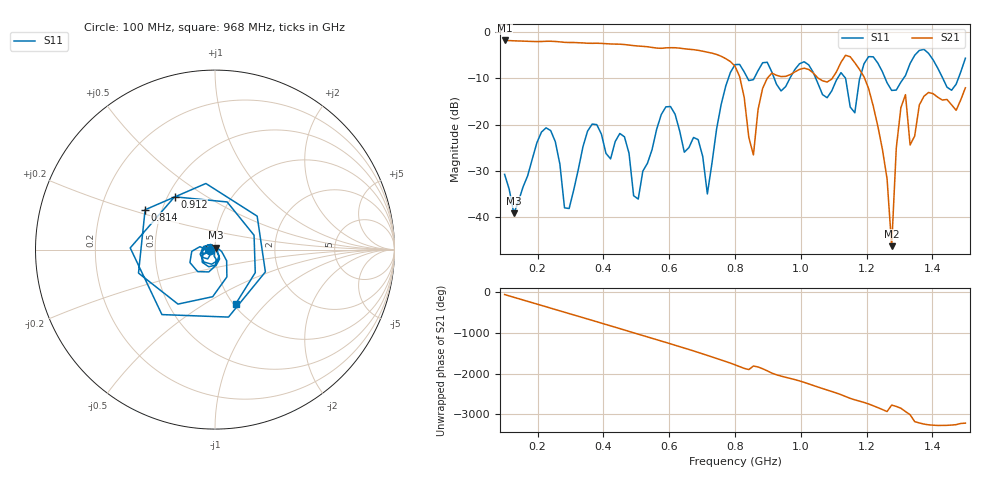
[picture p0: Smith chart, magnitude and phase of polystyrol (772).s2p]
! NanoVNA-App
! Date: 2025-09-25 15:35:53
! Start: 100MHz Stop: 1,5GHz Points: 101
! S-Parameter data: F S11 S21 S12 S22
# Hz S RI R 50
!  Frequency  S11_Real  S11_Imag  S21_Real  S21_Imag  S12_Real  S12_Imag  S22_Real  S22_Imag
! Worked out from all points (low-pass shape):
!   101 points, 100 MHz to 1.5 GHz, reference 50 ohm
!   highest |S21| = -1.80 dB at 100 MHz (marker M1); lowest = -46.2 dB at 1.276 GHz (marker M2)
!   |S21| within 3 dB of the highest: start of sweep to 743.1 MHz
!   lowest |S11| = -39.1 dB at 128 MHz (marker M3), VSWR 1.02, Z = 50.3 + j1.06 ohm
!   |S11| at or under -10 dB: start of sweep to 779.8 MHz; 1.046 GHz to 1.111 GHz (65.67 MHz wide, 6.09 % of centre); 1.256 GHz to 1.312 GHz (55.38 MHz wide, 4.31 % of centre) (the widest 3 of 7)
!   S12 and S22 are empty: the file has one direction only
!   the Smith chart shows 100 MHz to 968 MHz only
!   S11 on the Smith chart (normalised r, x): 100 MHz: 0.94, -0.01; 814 MHz: 0.40, +0.22; 912 MHz: 0.54, +0.37; 968 MHz: 1.02, -0.69
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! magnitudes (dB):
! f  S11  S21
! 100 MHz  -30.7  -1.8
! 128 MHz  -39.1  -1.9
! 212 MHz  -21.6  -2.0
! 282 MHz  -37.9  -2.2
! 338 MHz  -24.7  -2.3
! 464 MHz  -22.6  -2.7
! 506 MHz  -36.0  -3.0
! 576 MHz  -17.8  -3.5
! 716 MHz  -34.9  -4.3
! 800 MHz  -7.0  -7.3
! 814 MHz  -7.0  -9.6
! 856 MHz  -10.3  -26.5
! 912 MHz  -8.6  -8.9
! 968 MHz  -9.8  -9.2
! 1.038 GHz  -8.7  -8.8
! 1.164 GHz  -17.4  -6.6
! 1.192 GHz  -6.8  -9.7
! 1.276 GHz  -12.6  -46.2
! 1.29 GHz  -12.5  -25.1
! 1.318 GHz  -9.4  -13.5
! 1.332 GHz  -6.8  -24.4
! 1.5 GHz  -5.6  -12.0
